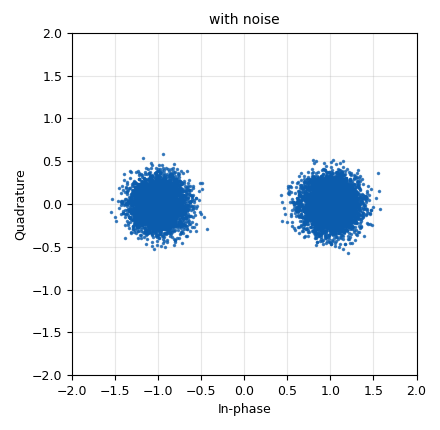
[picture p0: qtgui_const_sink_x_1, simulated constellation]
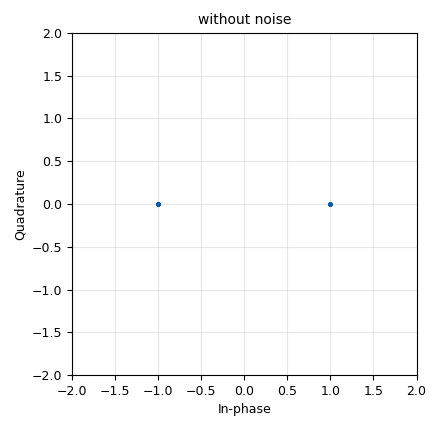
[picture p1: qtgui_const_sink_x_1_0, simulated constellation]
<?xml version='1.0' encoding='utf-8'?>
<?grc format='1' created='3.7.9'?>
<flow_graph>
<block>
<key>options</key>
<param><key>id</key><value>top_block</value></param>
<param><key>category</key><value>Custom</value></param>
<param><key>generate_options</key><value>qt_gui</value></param>
</block>
<block>
<key>variable_qtgui_range</key>
<param><key>id</key><value>EbN0</value></param>
<param><key>value</key><value>10</value></param>
<param><key>min_len</key><value>2000</value></param>
<param><key>orient</key><value>Qt.Horizontal</value></param>
<param><key>start</key><value>-30</value></param>
<param><key>step</key><value>1</value></param>
<param><key>stop</key><value>20</value></param>
</block>
<block>
<key>variable</key>
<param><key>id</key><value>const</value></param>
<param><key>value</key><value>(digital.constellation_bpsk(), digital.constellation_qpsk(), digital.constellation_8psk())</value></param>
</block>
<block>
<key>variable</key>
<param><key>id</key><value>const_type</value></param>
<param><key>value</key><value>0</value></param>
</block>
<block>
<key>variable</key>
<param><key>id</key><value>no_of_points</value></param>
<param><key>value</key><value>10000</value></param>
</block>
<block>
<key>variable</key>
<param><key>id</key><value>samp_rate</value></param>
<param><key>value</key><value>32000</value></param>
</block>
<block>
<key>analog_noise_source_x</key>
<param><key>id</key><value>analog_noise_source_x_0</value></param>
<param><key>amp</key><value>1.0/math.sqrt(2.0*const[const_type].bits_per_symbol()*10**(EbN0/10))</value></param>
<param><key>noise_type</key><value>analog.GR_GAUSSIAN</value></param>
<param><key>type</key><value>complex</value></param>
<param><key>seed</key><value>-42</value></param>
</block>
<block>
<key>analog_random_source_x</key>
<param><key>id</key><value>analog_random_source_x_0</value></param>
<param><key>max</key><value>const[const_type].arity()</value></param>
<param><key>min</key><value>0</value></param>
<param><key>num_samps</key><value>1000</value></param>
<param><key>type</key><value>byte</value></param>
<param><key>repeat</key><value>True</value></param>
</block>
<block>
<key>blks2_error_rate</key>
<param><key>id</key><value>blks2_error_rate_0</value></param>
<param><key>bits_per_symbol</key><value>const[const_type].bits_per_symbol()</value></param>
<param><key>type</key><value>'BER'</value></param>
<param><key>win_size</key><value>1000</value></param>
</block>
<block>
<key>blocks_add_xx</key>
<param><key>id</key><value>blocks_add_xx_0</value></param>
<param><key>type</key><value>complex</value></param>
</block>
<block>
<key>blocks_throttle</key>
<param><key>id</key><value>blocks_throttle_0</value></param>
<param><key>samples_per_second</key><value>samp_rate</value></param>
<param><key>type</key><value>byte</value></param>
</block>
<block>
<key>digital_chunks_to_symbols_xx</key>
<param><key>id</key><value>digital_chunks_to_symbols_xx_0</value></param>
<param><key>dimension</key><value>1</value></param>
<param><key>in_type</key><value>byte</value></param>
<param><key>out_type</key><value>complex</value></param>
<param><key>symbol_table</key><value>const[const_type].points()</value></param>
</block>
<block>
<key>digital_constellation_decoder_cb</key>
<param><key>id</key><value>digital_constellation_decoder_cb_0</value></param>
<param><key>constellation</key><value>const[const_type].base()</value></param>
</block>
<block>
<key>import</key>
<param><key>id</key><value>import</value></param>
<param><key>import</key><value>import math</value></param>
</block>
<block>
<key>qtgui_const_sink_x</key>
<param><key>id</key><value>qtgui_const_sink_x_1</value></param>
<param><key>gui_hint</key><value>1, 2</value></param>
<param><key>name</key><value>"with noise"</value></param>
<param><key>size</key><value>10000</value></param>
<param><key>type</key><value>complex</value></param>
</block>
<block>
<key>qtgui_const_sink_x</key>
<param><key>id</key><value>qtgui_const_sink_x_1_0</value></param>
<param><key>gui_hint</key><value>1, 1</value></param>
<param><key>name</key><value>"without noise"</value></param>
<param><key>size</key><value>10000</value></param>
<param><key>type</key><value>complex</value></param>
</block>
<block>
<key>qtgui_number_sink</key>
<param><key>id</key><value>qtgui_number_sink_0</value></param>
<param><key>graph_type</key><value>qtgui.NUM_GRAPH_HORIZ</value></param>
<param><key>type</key><value>float</value></param>
</block>
<connection><source_block_id>analog_noise_source_x_0</source_block_id><sink_block_id>blocks_add_xx_0</sink_block_id><source_key>0</source_key><sink_key>1</sink_key></connection>
<connection><source_block_id>analog_random_source_x_0</source_block_id><sink_block_id>blocks_throttle_0</sink_block_id><source_key>0</source_key><sink_key>0</sink_key></connection>
<connection><source_block_id>analog_random_source_x_0</source_block_id><sink_block_id>digital_chunks_to_symbols_xx_0</sink_block_id><source_key>0</source_key><sink_key>0</sink_key></connection>
<connection><source_block_id>blks2_error_rate_0</source_block_id><sink_block_id>qtgui_number_sink_0</sink_block_id><source_key>0</source_key><sink_key>0</sink_key></connection>
<connection><source_block_id>blocks_add_xx_0</source_block_id><sink_block_id>digital_constellation_decoder_cb_0</sink_block_id><source_key>0</source_key><sink_key>0</sink_key></connection>
<connection><source_block_id>blocks_add_xx_0</source_block_id><sink_block_id>qtgui_const_sink_x_1</sink_block_id><source_key>0</source_key><sink_key>0</sink_key></connection>
<connection><source_block_id>blocks_throttle_0</source_block_id><sink_block_id>blks2_error_rate_0</sink_block_id><source_key>0</source_key><sink_key>0</sink_key></connection>
<connection><source_block_id>digital_chunks_to_symbols_xx_0</source_block_id><sink_block_id>blocks_add_xx_0</sink_block_id><source_key>0</source_key><sink_key>0</sink_key></connection>
<connection><source_block_id>digital_chunks_to_symbols_xx_0</source_block_id><sink_block_id>qtgui_const_sink_x_1_0</sink_block_id><source_key>0</source_key><sink_key>0</sink_key></connection>
<connection><source_block_id>digital_constellation_decoder_cb_0</source_block_id><sink_block_id>blks2_error_rate_0</sink_block_id><source_key>0</source_key><sink_key>1</sink_key></connection>
</flow_graph>
